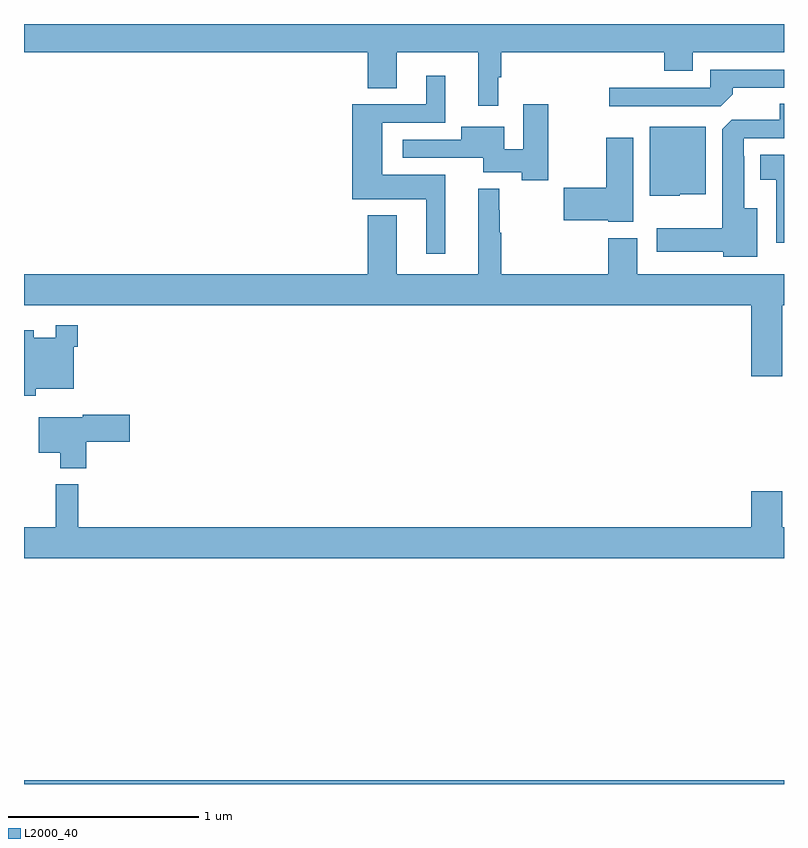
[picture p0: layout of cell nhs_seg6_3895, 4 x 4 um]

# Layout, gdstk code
import gdstk
lib = gdstk.Library(unit=1e-6, precision=1e-09)
def R(c, l, rs):  # rectangles x0, y0, x1, y1
    for r in rs: c.add(gdstk.rectangle(r[:2], r[2:], *l))
def P(c, l, *ps):  # polygons
    for p in ps: c.add(gdstk.Polygon(p, *l))
L2000_40 = (2000, 40)

nhs_seg6_3895 = lib.new_cell('nhs_seg6_3895')
R(nhs_seg6_3895, L2000_40, [(341,927.5,345,927.52)])
P(nhs_seg6_3895, L2000_40, [(343.495,931.22),(343.513,931.22),(343.513,931.352),(344.369,931.352),(344.369,931.253),(344.521,931.253),(344.521,931.352),(345,931.352),(345,931.5),(341,931.5),(341,931.352),(342.809,931.352),(342.809,931.162),(342.961,931.162),(342.961,931.352),(343.391,931.352),(343.391,931.071),(343.495,931.071)],
  [(344.729,931.13),(344.729,931.164),(345,931.164),(345,931.26),(344.613,931.26),(344.613,931.164),(344.079,931.164),(344.079,931.068),(344.667,931.068)],
  [(343.216,930.706),(342.886,930.706),(342.886,930.981),(343.216,930.981),(343.216,931.228),(343.118,931.228),(343.118,931.077),(342.728,931.077),(342.728,930.578),(343.118,930.578),(343.118,930.291),(343.216,930.291)],
  [(344.86,930.529),(344.791,930.529),(344.791,930.803),(344.787,930.803),(344.787,930.9),(345,930.9),(345,931.079),(344.978,931.079),(344.978,930.996),(344.724,930.996),(344.675,930.947),(344.675,930.424),(344.331,930.424),(344.331,930.302),(344.679,930.302),(344.679,930.275),(344.86,930.275)],
  [(343.758,931.078),(343.628,931.078),(343.628,930.842),(343.528,930.842),(343.528,930.958),(343.301,930.958),(343.301,930.891),(342.993,930.891),(342.993,930.795),(343.418,930.795),(343.418,930.719),(343.621,930.719),(343.621,930.677),(343.758,930.677)],
  [(344.451,930.605),(344.587,930.605),(344.587,930.958),(344.294,930.958),(344.294,930.596),(344.451,930.596)],
  [(344.206,930.901),(344.065,930.901),(344.065,930.638),(343.842,930.638),(343.842,930.467),(344.076,930.467),(344.076,930.458),(344.206,930.458)],
  [(345,930.811),(344.876,930.811),(344.876,930.68),(344.96,930.68),(344.96,930.348),(345,930.348)],
  [(344.992,930.02),(345,930.02),(345,930.184),(344.227,930.184),(344.227,930.373),(344.075,930.373),(344.075,930.184),(343.513,930.184),(343.513,930.401),(343.505,930.401),(343.505,930.521),(343.501,930.521),(343.501,930.634),(343.391,930.634),(343.391,930.184),(342.961,930.184),(342.961,930.493),(342.809,930.493),(342.809,930.184),(341,930.184),(341,930.02),(344.828,930.02),(344.828,929.646),(344.992,929.646)],
  [(341.063,929.579),(341.262,929.579),(341.262,929.801),(341.282,929.801),(341.282,929.914),(341.166,929.914),(341.166,929.848),(341.05,929.848),(341.05,929.887),(341,929.887),(341,929.543),(341.063,929.543)],
  [(341.327,929.302),(341.557,929.302),(341.557,929.444),(341.31,929.444),(341.31,929.431),(341.078,929.431),(341.078,929.243),(341.192,929.243),(341.192,929.162),(341.327,929.162)],
  [(345,928.852),(344.992,928.852),(344.992,929.041),(344.828,929.041),(344.828,928.852),(341.285,928.852),(341.285,929.077),(341.168,929.077),(341.168,928.852),(341,928.852),(341,928.688),(345,928.688)])

lib.write_gds('nhs_seg6_3895.gds')
